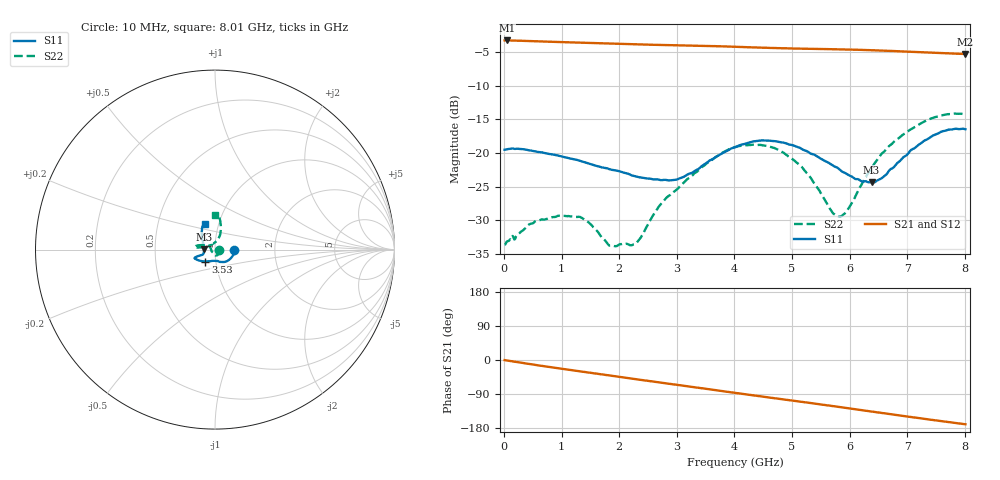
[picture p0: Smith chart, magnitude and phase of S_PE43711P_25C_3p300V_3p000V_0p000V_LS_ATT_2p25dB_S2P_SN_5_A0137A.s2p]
! Device ID: PE43711P
! File Path: z:\PE43711P\CHAR_NOM_04282014\AMB\3p300\LS_ATT_2p25dB\PE43711P_AMB_3p300V_3p000V_0p000V_LS_ATT_2p25dB_S2P_SN_5_A0137A.s2p
! Serial: 5
! Lot: A0137A
! Temp: 25C
! VDD: 3.300
! VSS: 0.000
! Control_Hi: 3.000
! Control_Lo: 0.000
! Attenuation Step: 2.25dB
! Port 1: RF1
! Port 2: RF2
! ThroughPath:1-2
! IDD: 0.0001276913
! ISS: -6.23e-008
#  Hz  S  RI  R  50
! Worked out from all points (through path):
!   801 points, 10 MHz to 8.01 GHz, reference 50 ohm
!   highest |S21| = -3.29 dB at 50 MHz (marker M1); lowest = -5.3 dB at 8.01 GHz (marker M2)
!   group delay of S21, straight-line fit = 58.3 ps
!   lowest |S11| = -24.3 dB at 6.38 GHz (marker M3), VSWR 1.13, Z = 44.3 + j0.225 ohm
!   |S11| at or under -10 dB: start of sweep to end of sweep
!   |S22| runs from -33.8 to -14.1 dB; largest |S21 - S12| = 0.00094
!   S11 on the Smith chart (normalised r, x): 10 MHz: 1.24, -0.00; 3.53 GHz: 0.89, -0.12; 8.01 GHz: 0.87, +0.25
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1e7  0.1058 -0.000613  0.6848 -0.00353  0.685 -0.00358  0.0209 -0.00017
5e7  0.1066 -0.00294  0.6848 -0.015  0.6848 -0.0149  0.022 -0.000698
5.8e8  0.0926 -0.0429  0.6556 -0.1607  0.6557 -0.1606  0.0212 -0.0233
9.7e8  0.0731 -0.0608  0.6162 -0.254  0.6165 -0.2541  0.0129 -0.0318
1.35e9  0.053 -0.0686  0.5673 -0.3364  0.5676 -0.3365  0.00345 -0.0329
1.83e9  0.0326 -0.0686  0.4912 -0.4262  0.4916 -0.4264  -0.0101 -0.0179
2.22e9  0.0194 -0.0654  0.4198 -0.4863  0.4202 -0.4866  -0.0204 -0.00358
2.36e9  0.0159 -0.064  0.3929 -0.5049  0.3932 -0.5052  -0.0228 0.00438
2.68e9  0.00635 -0.0632  0.3298 -0.5428  0.3301 -0.5432  -0.0346 0.0193
3.03e9  -0.0136 -0.063  0.256 -0.5763  0.2562 -0.5768  -0.05 0.0234
3.53e9  -0.0538 -0.0663  0.1446 -0.6062  0.1449 -0.6065  -0.0804 0.026
4.01e9  -0.0932 -0.059  0.0354 -0.614  0.0351 -0.6145  -0.1093 0.0183
4.71e9  -0.1135 -0.0463  -0.1159 -0.5909  -0.1158 -0.591  -0.1077 0.0112
5.13e9  -0.1022 -0.0397  -0.1998 -0.5609  -0.2001 -0.5615  -0.0809 0.0132
5.35e9  -0.0921 -0.0344  -0.2423 -0.5414  -0.2425 -0.5421  -0.0611 0.0149
5.69e9  -0.0755 -0.0311  -0.306 -0.5045  -0.306 -0.5046  -0.0281 0.0238
5.84e9  -0.0687 -0.0285  -0.3326 -0.485  -0.3324 -0.4851  -0.0139 0.0308
5.97e9  -0.0649 -0.0235  -0.3543 -0.4671  -0.3543 -0.4675  -0.00231 0.0381
6.38e9  -0.0606 0.00254  -0.4172 -0.403  -0.4172 -0.4034  0.025 0.0731
6.68e9  -0.0657 0.0333  -0.4542 -0.3505  -0.454 -0.3508  0.0316 0.1077
7.45e9  -0.0729 0.1138  -0.5153 -0.204  -0.5155 -0.2041  0.0205 0.1816
8.01e9  -0.0537 0.1404  -0.5349 -0.0982  -0.5353 -0.0973  0.00138 0.1939
